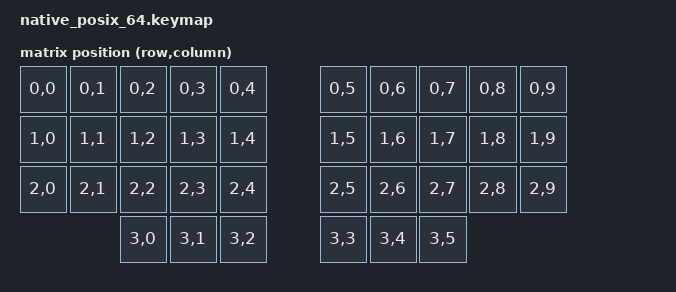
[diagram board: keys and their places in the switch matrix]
#include <dt-bindings/zmk/matrix_transform.h>
#include <dt-bindings/zmk/kscan_mock.h>

/ {
    chosen {
        zmk,matrix-transform = &transform;
    };

    /* op36 position N is RC(N/10, N%10); thumbs 30..35 are row 3. */
    transform: keymap_transform {
        compatible = "zmk,matrix-transform";
        columns = <10>;
        rows = <4>;
        map = <
            RC(0,0) RC(0,1) RC(0,2) RC(0,3) RC(0,4) RC(0,5) RC(0,6) RC(0,7) RC(0,8) RC(0,9)
            RC(1,0) RC(1,1) RC(1,2) RC(1,3) RC(1,4) RC(1,5) RC(1,6) RC(1,7) RC(1,8) RC(1,9)
            RC(2,0) RC(2,1) RC(2,2) RC(2,3) RC(2,4) RC(2,5) RC(2,6) RC(2,7) RC(2,8) RC(2,9)
            RC(3,0) RC(3,1) RC(3,2) RC(3,3) RC(3,4) RC(3,5)
        >;
    };
};

&kscan {
    rows = <4>;
    columns = <10>;
    events = <
        /* lead-in so require-prior-idle-ms sees real idle time */
        ZMK_MOCK_PRESS(0,1,10)
        ZMK_MOCK_RELEASE(0,1,400)

        /* adj hangs off position 30 now, as &ltadj L_ADJ 0: tap-preferred, so
           the layer only comes up once the 200 ms term has passed. Held that
           long, position 6 must resolve on adj as the bluetooth behavior. The
           probe is a right-hand position because the thumb holding adj is on
           the left, which is also why the layer's keys moved there. */
        ZMK_MOCK_PRESS(3,0,250)
        ZMK_MOCK_PRESS(0,6,30)
        ZMK_MOCK_RELEASE(0,6,30)
        ZMK_MOCK_RELEASE(3,0,300)

        /* Tapped instead of held, position 30 emits nothing at all — its tap
           binding is &none — and adj never comes up. That emptiness is the
           guard: tap-preferred makes a roll resolve as a tap, so the letter
           after it lands on the base layer rather than on adj, where
           &bootloader sits at position 15 and the BT profile keys at 6 and 7.
           Position 6 is L (0x0F) on en. */
        ZMK_MOCK_PRESS(3,0,30)
        ZMK_MOCK_RELEASE(3,0,30)
        ZMK_MOCK_PRESS(0,6,30)
        ZMK_MOCK_RELEASE(0,6,300)

        /* Position 35 is the thumb adj left behind, and it is &none until the
           globe layer lands there: pressing it does nothing, and the letter
           after it is still L. */
        ZMK_MOCK_PRESS(3,5,250)
        ZMK_MOCK_PRESS(0,6,30)
        ZMK_MOCK_RELEASE(0,6,30)
        ZMK_MOCK_RELEASE(3,5,300)

        /* Holding Space and then Backspace still gives numbers with nav over
           it, never adj — and it does not switch the language either, because
           the two presses are 300 ms apart and a combo needs both inside
           timeout-ms. Struck together they are the switch; held in sequence
           they are two layers. */
        ZMK_MOCK_PRESS(3,1,300)
        ZMK_MOCK_PRESS(3,4,300)
        ZMK_MOCK_PRESS(0,6,30)
        ZMK_MOCK_RELEASE(0,6,30)
        ZMK_MOCK_RELEASE(3,4,30)
        ZMK_MOCK_RELEASE(3,1,200)
    >;
};

#include "/cfg/op36_ruen.keymap"
